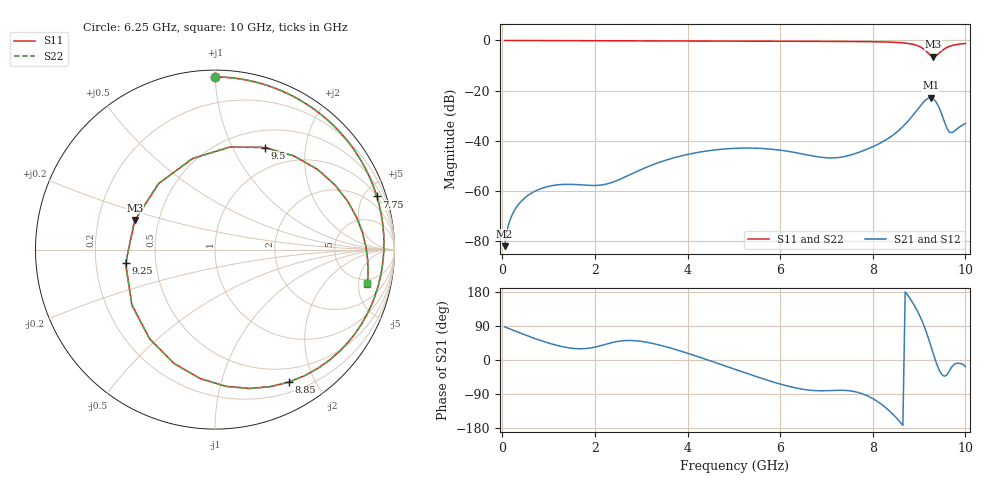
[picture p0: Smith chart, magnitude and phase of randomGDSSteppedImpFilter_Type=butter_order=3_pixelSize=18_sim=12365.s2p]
! freq	dB(S11)	phase(S11)	dB(S12)	phase(S12)
!  dB(S21)	phase(S21)	dB(S22)	phase(S22)
!S-par simulation data
#  GHz  S  DB  R 50
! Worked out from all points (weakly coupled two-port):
!   200 points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, 50 MHz to 10 GHz, reference 50 ohm
!   highest |S21| = -22.79 dB at 9.25 GHz (marker M1); lowest = -81.9 dB at 50 MHz (marker M2)
!   lowest |S11| = -6.5 dB at 9.3 GHz (marker M3), VSWR 2.81, Z = 18.3 + j7.82 ohm
!   |S11| at or under -10 dB: nowhere
!   |S22| runs from -6.4 to 0.0 dB; largest |S21 - S12| = 0
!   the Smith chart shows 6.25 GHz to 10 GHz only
!   S11 on the Smith chart (normalised r, x): 6.25 GHz: 0.04, +1.00; 7.75 GHz: 1.02, +6.08; 8.85 GHz: 0.32, -1.65; 9.25 GHz: 0.33, -0.07; 9.5 GHz: 0.71, +1.35; 10 GHz: 4.14, -6.44
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0.05  -0.00 -2.5  -81.91 87.5  -81.91 87.5  -0.00 -2.5
0.25  -0.02 -12.4  -68.07 77.8  -68.07 77.8  -0.02 -12.4
0.55  -0.04 -27.0  -61.74 63.6  -61.74 63.6  -0.04 -27.0
1.05  -0.06 -50.9  -57.89 42.9  -57.89 42.9  -0.06 -50.9
1.75  -0.10 -83.0  -57.57 29.8  -57.57 29.8  -0.10 -83.0
2.5  -0.14 -115.2  -55.60 49.3  -55.60 49.3  -0.14 -115.2
3.4  -0.18 -151.8  -48.48 39.3  -48.48 39.3  -0.18 -151.8
4.25  -0.22 174.4  -44.49 7.9  -44.49 7.9  -0.22 174.4
5.05  -0.27 141.9  -42.93 -25.6  -42.93 -25.6  -0.27 141.9
6.25  -0.33 90.1  -44.40 -71.4  -44.40 -71.4  -0.33 90.0
6.7  -0.36 69.5  -45.97 -80.3  -45.97 -80.3  -0.36 69.4
7.75  -0.45 18.2  -44.21 -88.1  -44.21 -88.1  -0.45 18.1
8.35  -0.65 -16.3  -38.82 -133.3  -38.82 -133.3  -0.65 -16.3
8.85  -1.47 -60.9  -30.18 153.5  -30.18 153.5  -1.46 -60.9
9.05  -2.82 -96.6  -25.51 107.2  -25.51 107.2  -2.79 -96.2
9.15  -4.21 -126.3  -23.57 76.0  -23.57 76.0  -4.16 -125.7
9.25  -5.97 -171.5  -22.79 38.8  -22.79 38.8  -5.92 -170.3
9.3  -6.46 159.6  -23.12 19.2  -23.12 19.2  -6.43 161.1
9.4  -5.62 103.3  -25.53 -16.6  -25.53 -16.6  -5.66 104.7
9.5  -3.96 63.8  -29.93 -39.5  -29.93 -39.5  -4.00 64.7
9.7  -2.08 19.9  -36.75 -19.2  -36.75 -19.2  -2.09 20.3
10  -1.21 -12.6  -33.04 -17.7  -33.04 -17.7  -1.22 -12.4
